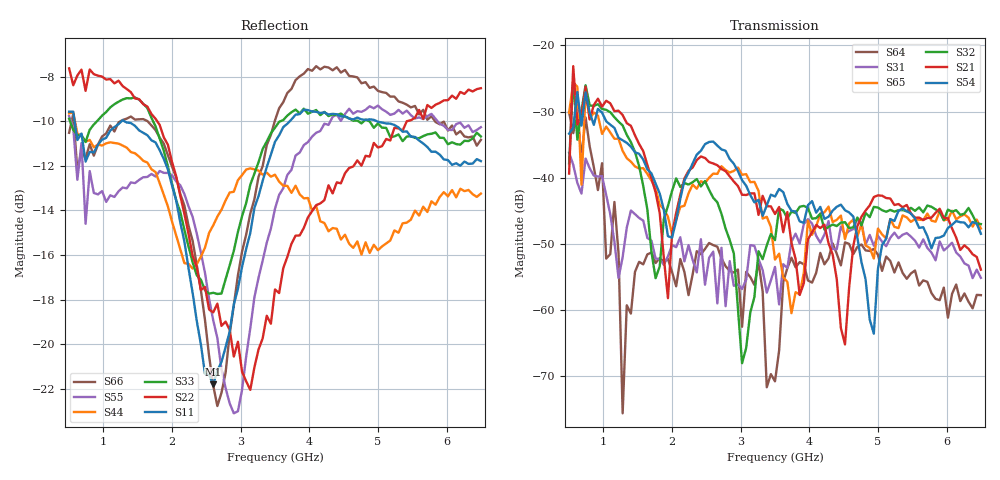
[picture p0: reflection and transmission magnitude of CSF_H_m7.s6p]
!Keysight Technologies,M9804A,MY58100912,A.14.10.03
!Date: Thursday, April 27, 2023 10:28:33
!Correction: S11(C  6-Port  )
!S12(C  6-Port  )
!S13(C  6-Port  )
!S14(C  6-Port  )
!S15(C  6-Port  )
!S16(C  6-Port  )
!S21(C  6-Port  )
!S22(C  6-Port  )
!S23(C  6-Port  )
!S24(C  6-Port  )
!S25(C  6-Port  )
!S26(C  6-Port  )
!S31(C  6-Port  )
!S32(C  6-Port  )
!S33(C  6-Port  )
!S34(C  6-Port  )
!S35(C  6-Port  )
!S36(C  6-Port  )
!S41(C  6-Port  )
!S42(C  6-Port  )
!S43(C  6-Port  )
!S44(C  6-Port  )
!S45(C  6-Port  )
!S46(C  6-Port  )
!S51(C  6-Port  )
!S52(C  6-Port  )
!S53(C  6-Port  )
!S54(C  6-Port  )
!S55(C  6-Port  )
!S56(C  6-Port  )
!S61(C  6-Port  )
!S62(C  6-Port  )
!S63(C  6-Port  )
!S64(C  6-Port  )
!S65(C  6-Port  )
!S66(C  6-Port  )
!S6P File: Measurement: :
# Hz S  RI  R 50
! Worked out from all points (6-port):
!   101 points, 500 MHz to 6.5 GHz, reference 50 ohm
!   strongest paths, dB at 500 MHz, 2 GHz, 3.5 GHz, 5 GHz, 6.5 GHz:
!     S54: -33.3, -49.1, -42.8, -53.8, -48.5
!     S21: -39.4, -48.5, -45.5, -42.7, -53.9
!     S32: -37.8, -42.0, -49.4, -44.5, -47.0
!     S65: -30.2, -48.5, -52.4, -47.7, -47.7
!     S31: -36.2, -50.2, -53.5, -48.8, -55.1
!     S64: -30.1, -54.2, -70.8, -51.6, -57.7
!   lowest |S11| = -21.8 dB at 2.6 GHz (marker M1), VSWR 1.18, Z = 42.7 + j1.91 ohm
!   |S11| at or under -10 dB: 580.5 MHz to 1.263 GHz (682.5 MHz wide, 74 % of centre); 1.309 GHz to 3.714 GHz (2.404 GHz wide, 95.7 % of centre); 4.988 GHz to end of sweep
